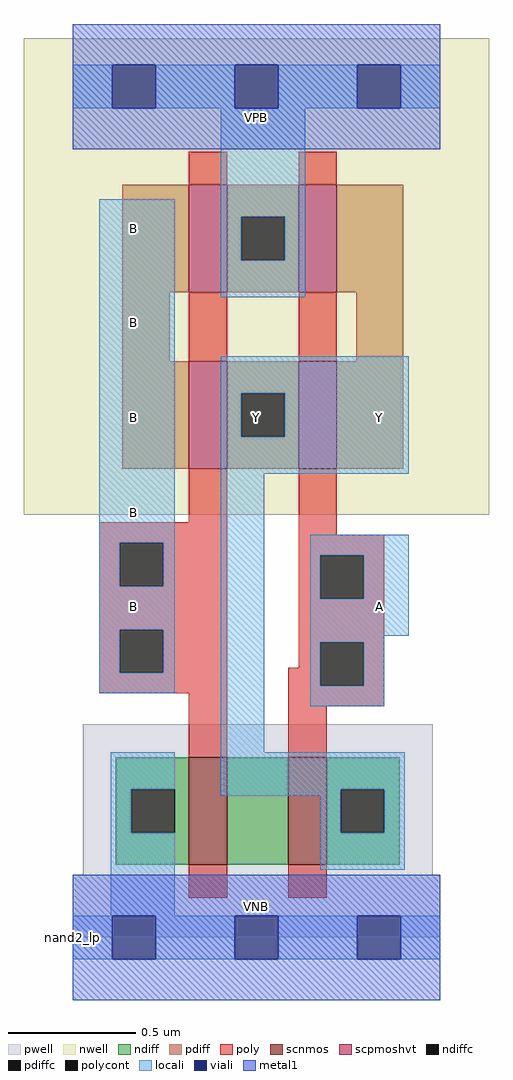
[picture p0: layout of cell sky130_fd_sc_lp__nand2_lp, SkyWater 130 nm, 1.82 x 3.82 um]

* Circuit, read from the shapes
.subckt sky130_fd_sc_lp__nand2_lp A B VGND VNB VPB VPWR Y
XM1 n1 B VGND VNB sky130_fd_pr__nfet_01v8 w=0.42 l=0.15
XM2 Y A n1 VNB sky130_fd_pr__nfet_01v8 w=0.42 l=0.15
XM3 Y B n2 VPB sky130_fd_pr__pfet_01v8_hvt w=0.42 l=0.15
XM4 VPWR B n2 VPB sky130_fd_pr__pfet_01v8_hvt w=0.42 l=0.15
XM5 n3 A Y VPB sky130_fd_pr__pfet_01v8_hvt w=0.42 l=0.15
XM6 n3 A VPWR VPB sky130_fd_pr__pfet_01v8_hvt w=0.42 l=0.15
.ends

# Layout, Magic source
magic
tech sky130A
magscale 1 2
<< nwell >>
rect -38 331 326 704
<< pwell >>
rect 8 49 282 167
rect 0 0 288 49
<< scnmos >>
rect 91 57 121 141
rect 169 57 199 141
<< scpmoshvt >>
rect 91 505 121 589
rect 177 505 207 589
rect 91 367 121 451
rect 177 367 207 451
<< ndiff >>
rect 34 116 91 141
rect 34 82 46 116
rect 80 82 91 116
rect 34 57 91 82
rect 121 57 169 141
rect 199 116 256 141
rect 199 82 210 116
rect 244 82 256 116
rect 199 57 256 82
<< pdiff >>
rect 39 505 91 589
rect 121 564 177 589
rect 121 530 132 564
rect 166 530 177 564
rect 121 505 177 530
rect 207 505 259 589
rect 39 451 76 505
rect 222 451 259 505
rect 39 367 91 451
rect 121 426 177 451
rect 121 392 132 426
rect 166 392 177 426
rect 121 367 177 392
rect 207 367 259 451
<< ndiffc >>
rect 46 82 80 116
rect 210 82 244 116
<< pdiffc >>
rect 132 530 166 564
rect 132 392 166 426
<< poly >>
rect 91 589 121 615
rect 177 589 207 615
rect 91 451 121 505
rect 177 451 207 505
rect 91 325 121 367
rect 21 309 121 325
rect 21 275 37 309
rect 71 275 121 309
rect 21 241 121 275
rect 21 207 37 241
rect 71 207 121 241
rect 177 315 207 367
rect 177 299 244 315
rect 177 265 194 299
rect 228 265 244 299
rect 177 231 244 265
rect 177 211 194 231
rect 21 191 121 207
rect 91 141 121 191
rect 169 197 194 211
rect 228 197 244 231
rect 169 181 244 197
rect 169 141 199 181
rect 91 31 121 57
rect 169 31 199 57
<< polycont >>
rect 37 275 71 309
rect 37 207 71 241
rect 194 265 228 299
rect 194 197 228 231
<< locali >>
rect 0 649 31 683
rect 65 649 127 683
rect 161 649 223 683
rect 257 649 288 683
rect 21 309 80 578
rect 116 564 182 649
rect 116 530 132 564
rect 166 530 182 564
rect 116 501 182 530
rect 21 275 37 309
rect 71 275 80 309
rect 21 241 80 275
rect 21 207 37 241
rect 71 207 80 241
rect 21 191 80 207
rect 116 426 263 455
rect 116 392 132 426
rect 166 392 263 426
rect 116 363 263 392
rect 116 145 150 363
rect 186 299 263 315
rect 186 265 194 299
rect 228 265 263 299
rect 186 236 263 265
rect 186 231 244 236
rect 186 197 194 231
rect 228 197 244 231
rect 186 181 244 197
rect 30 116 80 145
rect 30 82 46 116
rect 116 116 260 145
rect 116 111 210 116
rect 30 17 80 82
rect 194 82 210 111
rect 244 82 260 116
rect 194 53 260 82
rect 0 -17 31 17
rect 65 -17 127 17
rect 161 -17 223 17
rect 257 -17 288 17
<< viali >>
rect 31 649 65 683
rect 127 649 161 683
rect 223 649 257 683
rect 31 -17 65 17
rect 127 -17 161 17
rect 223 -17 257 17
<< metal1 >>
rect 0 683 288 715
rect 0 649 31 683
rect 65 649 127 683
rect 161 649 223 683
rect 257 649 288 683
rect 0 617 288 649
rect 0 17 288 49
rect 0 -17 31 17
rect 65 -17 127 17
rect 161 -17 223 17
rect 257 -17 288 17
rect 0 -49 288 -17
<< labels >>
flabel pwell s 0 0 288 49 0 FreeSans 200 0 0 0 VNB
port 4 nsew ground bidirectional
flabel nwell s 0 617 288 666 0 FreeSans 200 0 0 0 VPB
port 5 nsew power bidirectional
rlabel comment s 0 0 0 0 4 nand2_lp
flabel metal1 s 0 617 288 666 0 FreeSans 340 0 0 0 VPWR
port 6 nsew power bidirectional
flabel metal1 s 0 0 288 49 0 FreeSans 340 0 0 0 VGND
port 3 nsew ground bidirectional
flabel locali s 31 242 65 276 0 FreeSans 340 0 0 0 B
port 2 nsew signal input
flabel locali s 31 316 65 350 0 FreeSans 340 0 0 0 B
port 2 nsew signal input
flabel locali s 31 390 65 424 0 FreeSans 340 0 0 0 B
port 2 nsew signal input
flabel locali s 31 464 65 498 0 FreeSans 340 0 0 0 B
port 2 nsew signal input
flabel locali s 31 538 65 572 0 FreeSans 340 0 0 0 B
port 2 nsew signal input
flabel locali s 223 242 257 276 0 FreeSans 340 0 0 0 A
port 1 nsew signal input
flabel locali s 127 390 161 424 0 FreeSans 340 0 0 0 Y
port 7 nsew signal output
flabel locali s 223 390 257 424 0 FreeSans 340 0 0 0 Y
port 7 nsew signal output
<< properties >>
string LEFsite unit
string LEFclass CORE
string FIXED_BBOX 0 0 288 666
string GDS_FILE $PDKPATH/libs.ref/sky130_fd_sc_lp/gds/sky130_fd_sc_lp.gds
string LEFsymmetry X Y
string GDS_END 5851644
string GDS_START 5847726
<< end >>
